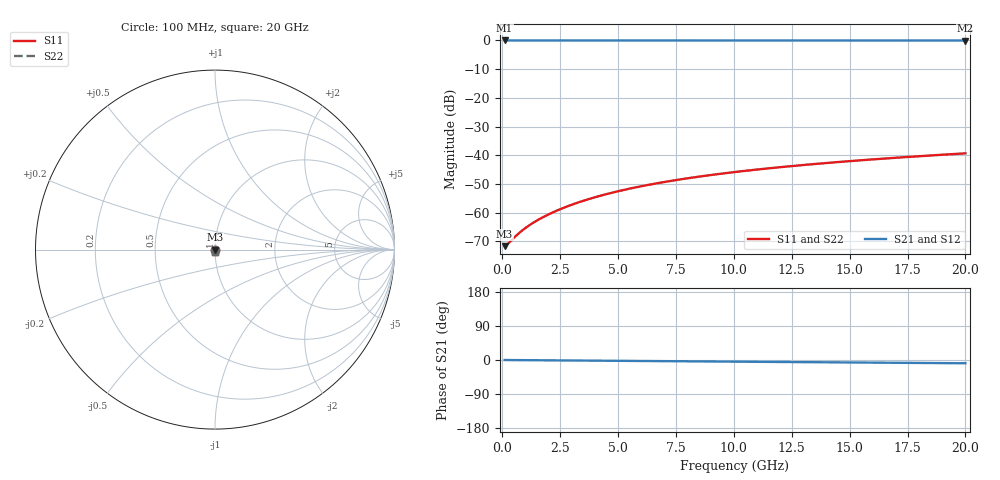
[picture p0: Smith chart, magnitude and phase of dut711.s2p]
! Touchstone file exported from HFSS 2026.1.0
!  File:  C:/ffzhzh/LocalFiles/Ansys_Project_Files/temp_train_TSV_711_1783182018_43440.aedt
!  Generated:  12:22:04 AM Jul  5, 2026
!  Design:  TSV
!  Project:  temp_train_TSV_711_1783182018_43440
! Variables:
!  h_bsmrdl = 2um
!  h_ox = 20um
!  h_rdl = 5um
!  h_sub = 92.14um
!  h_tmrdl = 5um
!  h_tsv = 92.14um
!  h_via = 3um
!  l_bsmrdl = 300um
!  l_sub = 413.96um
!  l_tmrdl = 200um
!  m_sub = 200um
!  pitch = 26.59um
!  r_tsv = 6.98um
!  s_tmrdl = 10um
!  w_bsmrdl = 18um
!  w_sub = 500um
!  w_tmrdl = 12um
!  x_tsv_center1 = 206um
!  x_tsv_center2 = 524um
!  x_tsv_center3 = 736um
!  x_tsv_center4 = 1054um
!  x_tsv_center5 = 1266um
!  x_tsv_center6 = 1584um
# GHz S MA R 50.000000
! Terminal data exported
! Port[1] = TSV1_1_T1
! Port[2] = TSV1_1_T2
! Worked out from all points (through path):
!   200 points, 100 MHz to 20 GHz, reference 50 ohm
!   highest |S21| = 0.00 dB at 100 MHz (marker M1); lowest = 0.0 dB at 20 GHz (marker M2)
!   group delay of S21, straight-line fit = 1.19 ps
!   lowest |S11| = -71.7 dB at 100 MHz (marker M3), VSWR 1.00, Z = 50 + j0.000632 ohm
!   |S11| at or under -10 dB: start of sweep to end of sweep
!   |S22| runs from -71.7 to -39.3 dB; largest |S21 - S12| = 2.3e-15
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0.1  0.0002607 1.4  0.9997 -0.0  0.9997 -0.0  0.0002607 1.4
! Gamma 0 0 0 0
! Port Impedance 50 0 50 0
0.2  0.0002771 1.8  0.9997 -0.1  0.9997 -0.1  0.0002771 1.8
0.3  0.0003014 0.8  0.9997 -0.1  0.9997 -0.1  0.0003014 0.8
0.6  0.0003973 -8.1  0.9996 -0.3  0.9996 -0.3  0.0003973 -8.1
0.9  0.0005041 -19.3  0.9995 -0.4  0.9995 -0.4  0.0005041 -19.3
1.2  0.0006152 -29.0  0.9995 -0.5  0.9995 -0.5  0.0006152 -29.0
1.5  0.0007308 -36.7  0.9994 -0.7  0.9994 -0.7  0.0007308 -36.7
1.9  0.0008922 -44.3  0.9994 -0.8  0.9994 -0.8  0.0008922 -44.3
2.4  0.001105 -51.1  0.9993 -1.1  0.9993 -1.1  0.001105 -51.1
2.9  0.001329 -55.9  0.9992 -1.3  0.9992 -1.3  0.001329 -55.9
3.5  0.00161 -60.1  0.9992 -1.5  0.9992 -1.5  0.00161 -60.1
4.2  0.001952 -63.7  0.9991 -1.8  0.9991 -1.8  0.001952 -63.7
5  0.002359 -66.8  0.999 -2.2  0.999 -2.2  0.002359 -66.8
5.9  0.002831 -69.6  0.9989 -2.6  0.9989 -2.6  0.002831 -69.6
6.8  0.003314 -71.9  0.9988 -3.0  0.9988 -3.0  0.003314 -71.9
8.3  0.004135 -75.1  0.9987 -3.6  0.9987 -3.6  0.004135 -75.1
10.1  0.005134 -78.0  0.9985 -4.4  0.9985 -4.4  0.005134 -78.0
11.7  0.00603 -80.2  0.9984 -5.1  0.9984 -5.1  0.00603 -80.2
13.4  0.006989 -82.1  0.9983 -5.8  0.9983 -5.8  0.006989 -82.1
15  0.007899 -83.7  0.9982 -6.5  0.9982 -6.5  0.007899 -83.7
16.7  0.008873 -85.2  0.9981 -7.2  0.9981 -7.2  0.008873 -85.2
20  0.01079 -87.7  0.9979 -8.6  0.9979 -8.6  0.01079 -87.7
